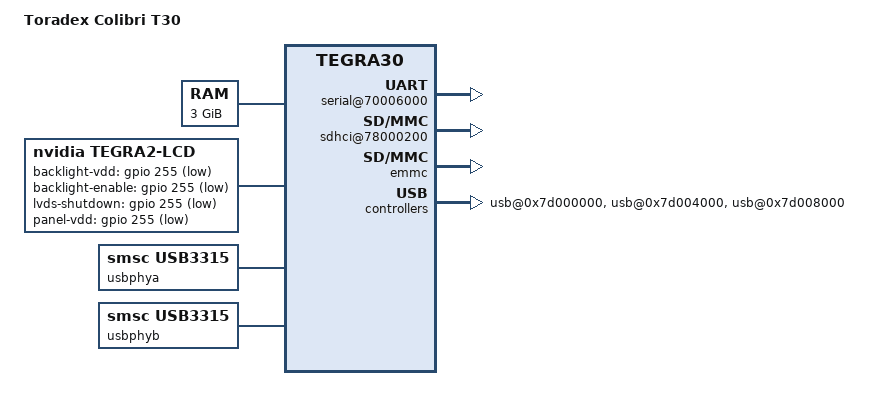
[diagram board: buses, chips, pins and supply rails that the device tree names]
/dts-v1/;

/memreserve/ 0x1c000000 0x04000000;
/include/ "../../nvidia/cardhu/tegra30.dtsi"

/ {
	model = "Toradex Colibri T30";
	compatible = "toradex,colibri_t30", "nvidia,tegra30";

	config {
		machine-arch-id = <4493>;
	};

	aliases {
		console = "/serial@70006000";
		usb0 = "/usb@0x7d004000";
		usb1 = "/usb@0x7d008000";
		usb2 = "/usb@0x7d000000";

		sdmmc0 = "/sdhci@78000600";
		sdmmc1 = "/sdhci@78000200";

		i2c0 = "/i2c@0x7000d000";
		i2c1 = "/i2c@0x7000c000";
		i2c2 = "/i2c@0x7000c400";
		i2c3 = "/i2c@0x7000c500";
		i2c4 = "/i2c@0x7000c700";
	};

	memory {
		device_type = "memory";
		reg = <0x80000000 0xc0000000>;
	};

	serial@70006000 {
		status = "ok";
		/*
		 * TBD - use CONFIG_SYS_PLLP_BASE_IS_408MHZ somehow here.
		 * Currently I put this back to 216MHz in fdt_decode.c
		 */
		clock-frequency = <408000000>;
	};

	sdhci@78000200 {
		status = "ok";
		width = <4>;	/* width of SDIO port */
		removable = <1>;
		/* Parameter 3 bit 0:1=output, 0=input; bit 1:1=high, 0=low */
		cd-gpio = <&gpio 23 0>; /* card detect, gpio PC7 */
	};

	/* Internal eMMC - SDMMC4 */
	emmc: sdhci@78000600 {
		status = "ok";
		width = <4>;	/* width of SDIO port */
		removable = <0>;
	};

	lcd {
		compatible = "nvidia,tegra2-lcd";
		width = <640>;
		height = <480>;
		bits_per_pixel = <16>;
		pwfm = <&pwfm0>;
		display = <&display1>;
                /* frame-buffer location = top of memory - carveout - fb */
		frame-buffer = <0xbfb00000>;

		pixel_clock = <25175000>;

		/* Timing: ref_to_sync, sync_width, back_porch, front_porch */
		horiz_timing = <0 96 48 16>;
		vert_timing = <1 2 31 11>;

		/* Parameter 3 bit 0:1=output, 0=input; bit 1:1=high, 0=low */
		backlight-vdd = <&gpio 255 3>;		/* PH0, LCD1_BL_PWM */
		backlight-enable = <&gpio 255 3>;	/* PH2, LCD1_BL_EN */
		lvds-shutdown = <&gpio 255 3>;		/* PL2, LVDS1_SHTDN */
		panel-vdd = <&gpio 255 3>;		/* PL4, EN_VDD_PNL1 */

		/*
		 * Panel required timings
		 * Timing 1: delay between panel_vdd-rise and data-rise
		 * Timing 2: delay between data-rise and backlight_vdd-rise
		 * Timing 3: delay between backlight_vdd and pwm-rise
		 * Timing 4: delay between pwm-rise and backlight_en-rise
		 */
		panel-timings = <0 0 0 0>;
	};

	/* EHCI instance 0: USB1_DP/N -> USBC_P/N */
	usb@0x7d000000 {
		status = "ok";
		host-mode = <1>;
	};

	usbphya: usbphy@0 {
		compatible = "smsc,usb3315";
		status = "ok";
	};

	/* EHCI instance 1: USB2_DP/N -> ASIX ETH */
	usb@0x7d004000 {
		status = "ok";
		utmi = <&usbphya>;
		host-mode = <0>;
	};

	usbphyb: usbphy@0 {
		compatible = "smsc,usb3315";
		status = "ok";
	};

	/* EHCI instance 2: USB3_DP/N -> USBH_P/N */
	usb@0x7d008000 {
		status = "ok";
		utmi = <&usbphyb>;
		host-mode = <0>;
		vbus-gpio = <&gpio 178 1>;	/* PW2, USBH_PEN */
	};
};
